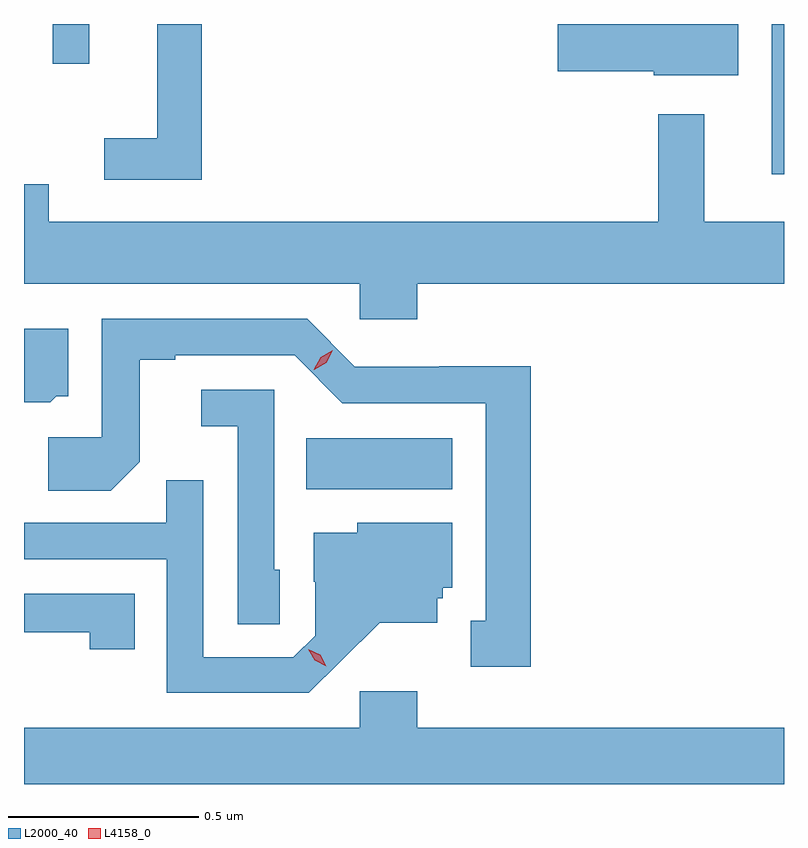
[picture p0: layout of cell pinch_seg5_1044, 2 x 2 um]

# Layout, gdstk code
import gdstk
lib = gdstk.Library(unit=1e-6, precision=1e-09)
def R(c, l, rs):  # rectangles x0, y0, x1, y1
    for r in rs: c.add(gdstk.rectangle(r[:2], r[2:], *l))
def P(c, l, *ps):  # polygons
    for p in ps: c.add(gdstk.Polygon(p, *l))
L2000_40 = (2000, 40)
L4158_0 = (4158, 0)

pinch_seg5_1044 = lib.new_cell('pinch_seg5_1044')
R(pinch_seg5_1044, L2000_40, [(707.464,845.564,707.848,845.698), (708.689,846.393,708.721,846.788), (706.797,846.684,706.893,846.788)])
P(pinch_seg5_1044, L2000_40, [(707.189,846.788),(707.072,846.788),(707.072,846.487),(706.932,846.487),(706.932,846.378),(707.189,846.378)],
  [(708.601,846.788),(708.126,846.788),(708.126,846.664),(708.378,846.664),(708.378,846.653),(708.601,846.653)],
  [(707.756,846.104),(708.721,846.104),(708.721,846.268),(708.511,846.268),(708.511,846.55),(708.39,846.55),(708.39,846.268),(706.786,846.268),(706.786,846.366),(706.721,846.366),(706.721,846.104),(707.604,846.104),(707.604,846.011),(707.756,846.011)],
  [(708.055,845.888),(707.814,845.888),(707.814,845.886),(707.592,845.886),(707.466,846.012),(706.926,846.012),(706.926,845.7),(706.785,845.7),(706.785,845.56),(706.949,845.56),(707.025,845.636),(707.025,845.904),(707.119,845.904),(707.119,845.916),(707.433,845.916),(707.559,845.79),(707.936,845.79),(707.936,845.217),(707.897,845.217),(707.897,845.097),(708.055,845.097)],
  [(706.806,845.808),(706.837,845.808),(706.837,845.986),(706.721,845.986),(706.721,845.792),(706.79,845.792)],
  [(707.394,845.352),(707.379,845.352),(707.379,845.826),(707.187,845.826),(707.187,845.729),(707.283,845.729),(707.283,845.209),(707.394,845.209)],
  [(707.554,845.111),(707.657,845.213),(707.809,845.213),(707.809,845.277),(707.823,845.277),(707.823,845.304),(707.848,845.304),(707.848,845.476),(707.598,845.476),(707.598,845.449),(707.483,845.449),(707.483,845.32),(707.487,845.32),(707.487,845.178),(707.43,845.121),(707.193,845.121),(707.193,845.588),(707.095,845.588),(707.095,845.475),(706.721,845.475),(706.721,845.379),(707.097,845.379),(707.097,845.028),(707.47,845.028)],
  [(707.012,845.289),(706.721,845.289),(706.721,845.188),(706.894,845.188),(706.894,845.142),(707.012,845.142)],
  [(708.721,844.936),(707.756,844.936),(707.756,845.032),(707.604,845.032),(707.604,844.936),(706.721,844.936),(706.721,844.788),(708.721,844.788)])
P(pinch_seg5_1044, L4158_0, [(707.484,845.878),(707.484,845.878),(707.502,845.911),(707.533,845.93),(707.534,845.93),(707.534,845.929),(707.516,845.897),(707.485,845.878)],
  [(707.516,845.098),(707.486,845.114),(707.469,845.143),(707.469,845.143),(707.469,845.143),(707.5,845.128),(707.517,845.098),(707.517,845.098)])

lib.write_gds('pinch_seg5_1044.gds')
